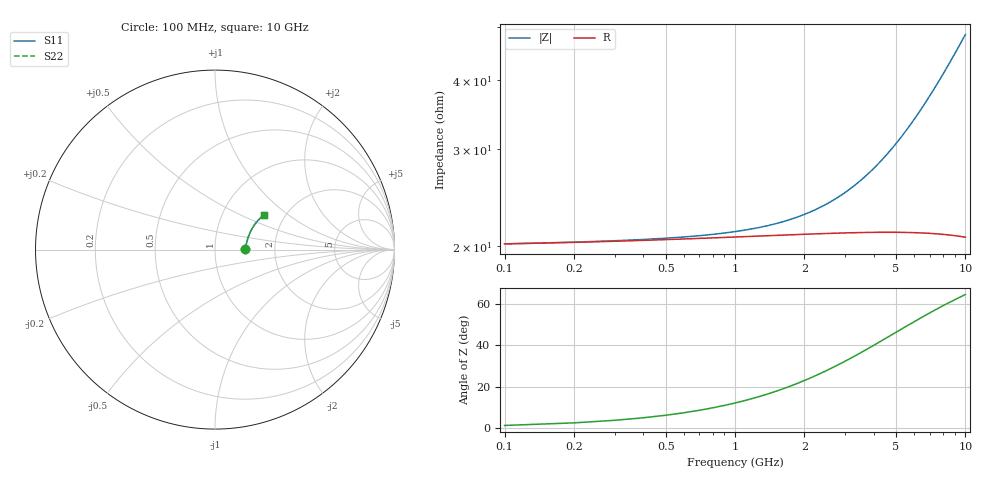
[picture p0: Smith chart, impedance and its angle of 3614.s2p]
# Hz S RI R 50.00
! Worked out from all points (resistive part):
!   100 points, 100 MHz to 10 GHz, reference 50 ohm
!   read as one part in series: R = 20.2 ohm at 100 MHz
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1e8  0.168 0.00235  0.832 -0.00379  0.832 -0.00379  0.168 0.00235
2e8  0.169 0.00469  0.831 -0.00757  0.831 -0.00757  0.169 0.00469
3e8  0.1697 0.00702  0.8303 -0.0113  0.8303 -0.0113  0.1697 0.00702
9e8  0.1728 0.0209  0.8271 -0.0338  0.8271 -0.0338  0.1728 0.0209
1.2e9  0.1742 0.0277  0.8256 -0.045  0.8256 -0.045  0.1742 0.0277
1.5e9  0.1756 0.0346  0.8241 -0.0561  0.8241 -0.0561  0.1756 0.0346
1.8e9  0.1772 0.0413  0.8224 -0.0672  0.8224 -0.0672  0.1772 0.0413
2.1e9  0.1789 0.0481  0.8206 -0.0783  0.8206 -0.0783  0.1789 0.0481
2.5e9  0.1813 0.0569  0.818 -0.0929  0.818 -0.0929  0.1813 0.0569
2.9e9  0.184 0.0657  0.8151 -0.1075  0.8151 -0.1075  0.184 0.0657
3.4e9  0.1877 0.0765  0.811 -0.1255  0.811 -0.1255  0.1877 0.0765
3.8e9  0.191 0.085  0.8074 -0.1398  0.8074 -0.1398  0.191 0.085
4.2e9  0.1946 0.0934  0.8034 -0.1539  0.8034 -0.1539  0.1946 0.0934
4.6e9  0.1984 0.1016  0.7992 -0.1679  0.7992 -0.1679  0.1984 0.1016
5.1e9  0.2035 0.1116  0.7935 -0.1851  0.7935 -0.1851  0.2035 0.1116
5.9e9  0.2126 0.1271  0.7834 -0.2121  0.7834 -0.2121  0.2126 0.1271
6.7e9  0.2227 0.1417  0.7722 -0.2384  0.7722 -0.2384  0.2227 0.1417
7.2e9  0.2294 0.1504  0.7647 -0.2543  0.7647 -0.2543  0.2294 0.1504
7.6e9  0.2351 0.1572  0.7583 -0.2669  0.7583 -0.2669  0.2351 0.1572
8.4e9  0.247 0.1699  0.745 -0.2913  0.745 -0.2913  0.247 0.1699
9.2e9  0.2596 0.1817  0.7307 -0.3147  0.7307 -0.3147  0.2596 0.1817
1e10  0.2729 0.1925  0.7157 -0.3371  0.7157 -0.3371  0.2729 0.1925
